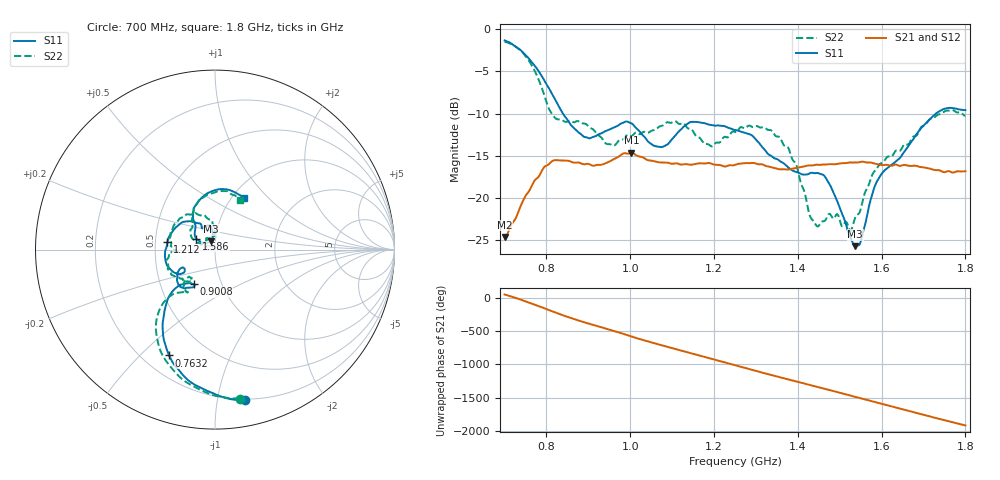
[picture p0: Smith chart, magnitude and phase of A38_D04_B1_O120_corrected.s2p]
! Created with skrf 1.9.0 (http://scikit-rf.org).
# Hz S RI R 50.0
!freq ReS11 ImS11 ReS21 ImS21 ReS12 ImS12 ReS22 ImS22
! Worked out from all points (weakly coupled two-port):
!   1601 points, 700 MHz to 1.8 GHz, reference 50 ohm
!   highest |S21| = -14.64 dB at 1.002 GHz (marker M1); lowest = -24.6 dB at 700 MHz (marker M2)
!   lowest |S11| = -25.7 dB at 1.537 GHz (marker M3), VSWR 1.11, Z = 47.6 + j4.5 ohm
!   |S11| at or under -10 dB: 839.1 MHz to 1.73 GHz (890.7 MHz wide, 69.3 % of centre)
!   |S22| runs from -23.9 to -1.5 dB; largest |S21 - S12| = 0.0033
!   S11 on the Smith chart (normalised r, x): 700 MHz: 0.19, -1.20; 763.2 MHz: 0.31, -0.61; 900.8 MHz: 0.74, -0.30; 1.212 GHz: 0.58, +0.05; 1.586 GHz: 0.80, +0.10; 1.8 GHz: 1.14, +0.74
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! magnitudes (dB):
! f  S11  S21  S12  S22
! 700 MHz  -1.4  -24.6  -24.4  -1.5
! 763.2 MHz  -3.8  -18.7  -18.7  -4.2
! 817.6 MHz  -8.0  -15.5  -15.6  -10.4
! 883.6 MHz  -12.5  -15.9  -15.8  -11.1
! 900.8 MHz  -12.9  -16.0  -16.0  -11.5
! 957.1 MHz  -11.7  -15.5  -15.5  -13.8
! 1.002 GHz  -11.1  -14.6  -14.7  -12.7
! 1.067 GHz  -13.9  -15.8  -15.7  -11.6
! 1.143 GHz  -11.0  -16.1  -16.0  -11.8
! 1.212 GHz  -11.4  -16.1  -16.1  -13.5
! 1.25 GHz  -12.0  -16.1  -16.0  -12.2
! 1.357 GHz  -15.6  -16.6  -16.5  -12.8
! 1.396 GHz  -16.9  -16.4  -16.4  -16.0
! 1.434 GHz  -17.0  -16.1  -16.1  -22.5
! 1.471 GHz  -18.0  -16.0  -16.0  -22.1
! 1.526 GHz  -24.7  -15.8  -15.8  -23.9
! 1.537 GHz  -25.7  -15.8  -15.8  -22.4
! 1.55 GHz  -25.1  -15.7  -15.7  -21.2
! 1.586 GHz  -18.3  -16.0  -15.9  -16.6
! 1.617 GHz  -16.3  -16.1  -16.1  -15.1
! 1.731 GHz  -10.0  -16.7  -16.7  -10.3
! 1.8 GHz  -9.6  -16.8  -16.8  -10.3
